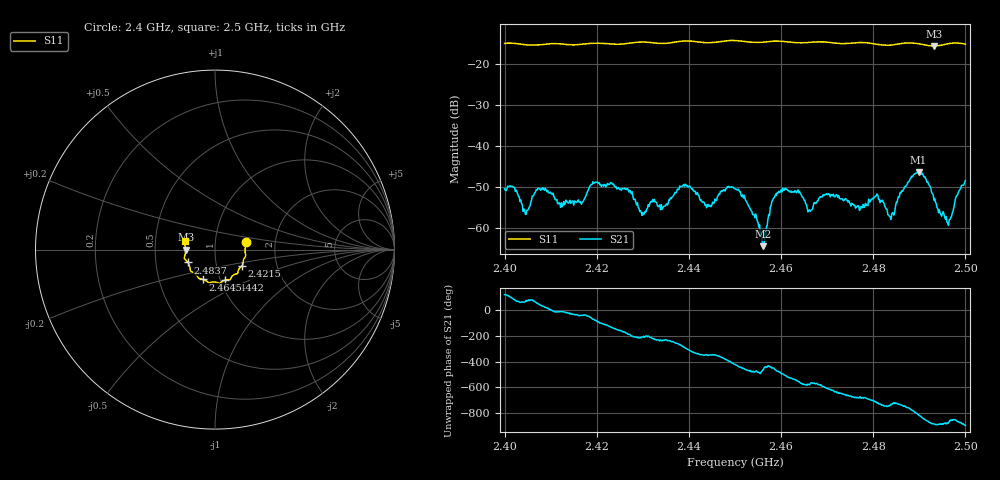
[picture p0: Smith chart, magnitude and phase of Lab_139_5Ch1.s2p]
# Hz S RI R 50
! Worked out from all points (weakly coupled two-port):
!   601 points, 2.4 GHz to 2.5 GHz, reference 50 ohm
!   highest |S21| = -46.41 dB at 2.4898 GHz (marker M1); lowest = -64.5 dB at 2.456 GHz (marker M2)
!   lowest |S11| = -15.7 dB at 2.4932 GHz (marker M3), VSWR 1.39, Z = 35.9 - j0.0571 ohm
!   |S11| at or under -10 dB: start of sweep to end of sweep
!   S12 and S22 are empty: the file has one direction only
!   S11 on the Smith chart (normalised r, x): 2.4 GHz: 1.41, +0.12; 2.4215 GHz: 1.33, -0.25; 2.4442 GHz: 1.05, -0.37; 2.4645 GHz: 0.83, -0.29; 2.4837 GHz: 0.73, -0.11; 2.5 GHz: 0.71, +0.07
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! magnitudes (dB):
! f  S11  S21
! 2.4 GHz  -15.1  -50.5
! 2.4045 GHz  -15.4  -56.8
! 2.4077 GHz  -15.4  -50.6
! 2.4167 GHz  -15.3  -54.3
! 2.4215 GHz  -15.1  -49.9
! 2.4272 GHz  -15.0  -50.9
! 2.4298 GHz  -14.8  -57.0
! 2.4333 GHz  -15.1  -54.9
! 2.4392 GHz  -14.5  -49.4
! 2.4442 GHz  -15.0  -54.3
! 2.45 GHz  -14.4  -50.5
! 2.456 GHz  -14.8  -64.5
! 2.459 GHz  -14.5  -52.1
! 2.4645 GHz  -15.0  -52.3
! 2.4667 GHz  -14.8  -55.6
! 2.4805 GHz  -15.3  -52.3
! 2.4833 GHz  -15.6  -57.0
! 2.4837 GHz  -15.5  -57.4
! 2.4898 GHz  -15.2  -46.4
! 2.4932 GHz  -15.7  -53.3
! 2.4965 GHz  -15.1  -58.1
! 2.5 GHz  -15.3  -48.5
